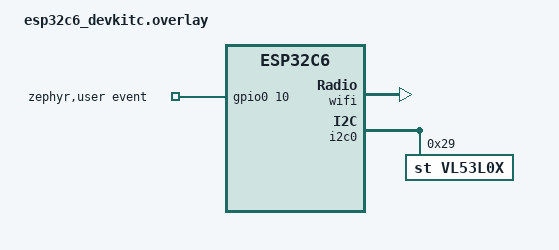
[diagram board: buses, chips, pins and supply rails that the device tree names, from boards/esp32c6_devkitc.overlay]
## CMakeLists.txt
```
# SPDX-License-Identifier: Apache-2.0
#
# direction example, application "sensor_a": a micro-ROS application on
# rmw_zenoh_pico. Everything it builds lies in this directory.

cmake_minimum_required(VERSION 3.20.0)

list(APPEND ZEPHYR_EXTRA_MODULES
  ${CMAKE_CURRENT_SOURCE_DIR}/modules/libmicroros
  ${CMAKE_CURRENT_SOURCE_DIR}/modules/wifi_bootstrap
  ${CMAKE_CURRENT_SOURCE_DIR}/modules/zenoh-pico
  ${CMAKE_CURRENT_SOURCE_DIR}/modules/rmw_zenoh_pico)

# Wi-Fi credentials: wifi.conf, a Kconfig fragment with the
# CONFIG_WIFI_BOOTSTRAP_* options. It is not in Git; wifi.conf.example is.
if(EXISTS ${CMAKE_CURRENT_SOURCE_DIR}/wifi.conf)
  list(APPEND EXTRA_CONF_FILE ${CMAKE_CURRENT_SOURCE_DIR}/wifi.conf)
else()
  message(WARNING "wifi.conf is missing: copy wifi.conf.example and fill it in")
endif()

# Where the arrivals come from: "tof", a VL53L0X distance sensor that is
# polled, or "gpio", a pulse on a pin. Each has its Kconfig fragment.
set(DIRECTION_EVENT_SOURCE "tof" CACHE STRING "Event source: tof or gpio")
set_property(CACHE DIRECTION_EVENT_SOURCE PROPERTY STRINGS tof gpio)
if(NOT DIRECTION_EVENT_SOURCE MATCHES "^(tof|gpio)$")
  message(FATAL_ERROR "DIRECTION_EVENT_SOURCE is \"${DIRECTION_EVENT_SOURCE}\"; it must be tof or gpio")
endif()
list(APPEND EXTRA_CONF_FILE ${CMAKE_CURRENT_SOURCE_DIR}/${DIRECTION_EVENT_SOURCE}.conf)

find_package(Zephyr REQUIRED HINTS $ENV{ZEPHYR_BASE})
project(zenoh_direction_sensor_a)

set(ZENOH_ROUTER_IP "192.168.50.164" CACHE STRING "Address of the Zenoh router")
set(ZENOH_ROUTER_PORT "8889" CACHE STRING "TCP port of the Zenoh router")
message(STATUS "Zenoh router: tcp/${ZENOH_ROUTER_IP}:${ZENOH_ROUTER_PORT}")
target_compile_definitions(app PRIVATE
  ZENOH_ROUTER_IP="${ZENOH_ROUTER_IP}"
  ZENOH_ROUTER_PORT="${ZENOH_ROUTER_PORT}")

target_sources(app PRIVATE src/main.c src/wifi_ps.c
  src/event_${DIRECTION_EVENT_SOURCE}.c)
message(STATUS "Event source: ${DIRECTION_EVENT_SOURCE}")
target_link_libraries(app PRIVATE rmw_zenoh_pico microros)
```

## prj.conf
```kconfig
CONFIG_MICROROS=y

CONFIG_MAIN_STACK_SIZE=8192
CONFIG_MAIN_THREAD_PRIORITY=3

CONFIG_NEWLIB_LIBC=y
CONFIG_NEWLIB_LIBC_NANO=n
CONFIG_POSIX_API=y
CONFIG_POSIX_CLOCK=y
CONFIG_STATIC_INIT_GNU=y
# rmw_zenoh_pico with one publisher uses 20 pthread mutexes (from the upstream example)
CONFIG_MAX_PTHREAD_MUTEX_COUNT=160

CONFIG_STDOUT_CONSOLE=y
CONFIG_LOG=y
CONFIG_SERIAL=y
CONFIG_UART_INTERRUPT_DRIVEN=y
CONFIG_UART_LINE_CTRL=y

# Entities of this application (compile-time limits of libmicroros)
CONFIG_MICROROS_NODES="1"
CONFIG_MICROROS_PUBLISHERS="1"
CONFIG_MICROROS_SUBSCRIBERS="2"
# Not used on Zenoh; the libmicroros module needs one transport selected
CONFIG_MICROROS_TRANSPORT_UDP=y

CONFIG_ZENOH_PICO=y
CONFIG_ZENOH_PICO_LINK_TCP=y
CONFIG_RMW_ZENOH_PICO=y
# Features that zenoh-pico leaves off by default and rmw_zenoh_pico needs
CONFIG_ZENOH_PICO_LIVELINESS=y
CONFIG_ZENOH_PICO_INTEREST=y
CONFIG_ZENOH_PICO_FRAGMENTATION=y
CONFIG_ZENOH_PICO_ENCODING_VALUES=y
CONFIG_ZENOH_PICO_UNICAST_TRANSPORT=y
CONFIG_ZENOH_PICO_MATCHING=y
CONFIG_ZENOH_PICO_AUTO_RECONNECT=y
CONFIG_ZENOH_PICO_SESSION_CHECK=y
CONFIG_ZENOH_PICO_BATCHING=y
# Send every message at once. Without it Zephyr's TCP holds a small segment
# back while earlier data is unacknowledged (Nagle's algorithm), so the second
# of two publishes waits for a round trip of the first's acknowledgement
# (lingua_franca_ws/dual_publisher/runs/2026-11-19-transit-time).
CONFIG_ZENOH_PICO_TCP_NODELAY=y
# Read and lease run in one thread; the default reserves 4 stacks of CONFIG_MAIN_STACK_SIZE
CONFIG_ZENOH_PICO_THREADS_NUM=1

# Wi-Fi credentials come from ulf-uros.conf in the repository root (not
# committed); CMakeLists adds them. Do not write them here.
CONFIG_WIFI=y
CONFIG_WIFI_BOOTSTRAP=y
CONFIG_NETWORKING=y
CONFIG_NET_L2_ETHERNET=y
CONFIG_NET_L2_WIFI_MGMT=y
CONFIG_NET_MGMT=y
CONFIG_NET_MGMT_EVENT=y
CONFIG_NET_MGMT_EVENT_INFO=y
CONFIG_NET_IPV4=y
CONFIG_NET_IPV6=n
CONFIG_NET_UDP=y
CONFIG_NET_TCP=y
CONFIG_NET_SOCKETS=y
CONFIG_NET_DHCPV4=y
CONFIG_ESP32_WIFI_STA_AUTO_DHCPV4=y
CONFIG_DNS_RESOLVER=y
CONFIG_NET_PKT_RX_COUNT=16
CONFIG_NET_PKT_TX_COUNT=32
CONFIG_NET_BUF_RX_COUNT=32
CONFIG_NET_BUF_TX_COUNT=128
CONFIG_NET_MAX_CONTEXTS=10
# zenoh-pico sets a receive timeout on its socket, which Zephyr rejects without this option
CONFIG_NET_CONTEXT_RCVTIMEO=y
CONFIG_HEAP_MEM_POOL_SIZE=98304
```

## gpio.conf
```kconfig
# Event source "gpio": a pin with an interrupt.
CONFIG_GPIO=y
# The sensor of the other source is in the devicetree but not used.
CONFIG_SENSOR=n
```

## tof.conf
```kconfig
# Event source "tof": the VL53L0X distance sensor on I2C.
CONFIG_I2C=y
CONFIG_SENSOR=y
CONFIG_VL53L0X=y
```

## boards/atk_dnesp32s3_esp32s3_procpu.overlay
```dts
/* 同 esp32c6_devkitc.overlay:wifi 外设默认 disabled,启用才会编入乐鑫 WiFi 驱动 */
&wifi {
	status = "okay";
};
```

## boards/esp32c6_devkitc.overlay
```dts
/* The wifi peripheral of the ESP32-C6 is disabled by default; enabling it
 * builds the Espressif Wi-Fi driver. */
&wifi {
	status = "okay";
};

/* Event source "tof": a VL53L0X on I2C0, which the board has on
 * GPIO6 (SDA) and GPIO7 (SCL). */
&i2c0 {
	vl53l0x: vl53l0x@29 {
		compatible = "st,vl53l0x";
		reg = <0x29>;
	};
};

/* Event source "gpio": a pulse to high on GPIO10 is one arrival. */
/ {
	zephyr,user {
		event-gpios = <&gpio0 10 (GPIO_ACTIVE_HIGH | GPIO_PULL_DOWN)>;
	};
};
```

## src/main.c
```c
/*
 * direction example, application "sensor_b".
 *
 * One of two sensors that an object passes one after the other. Each time the
 * object arrives at this sensor, the application publishes the number of the
 * arrival on /direction/b. The application "judge" takes the direction of the
 * movement from the order of the two sensors' messages.
 *
 * The arrivals come from an event source, which a thread of its own waits on
 * (event_source.h): a VL53L0X distance sensor that the thread polls, or a
 * pulse on a pin that raises an interrupt. The thread publishes as soon as
 * the source reports an arrival, so the publish is not in a callback of the
 * executor. The executor has one timer, which prints how many arrivals there
 * have been.
 *
 * Serial output:
 *   EVT,<record>,<time_us>,B,<count>,<detail>    before a publish
 *   #STAT,<time_us>,events=<count>                 once a second
 * <time_us> of EVT is the time of the arrival as the event source gives it;
 * <detail> is the distance in mm for the VL53L0X and 0 for the pin.
 */
#include <zephyr/kernel.h>
#include <zephyr/sys/printk.h>

#include <rcl/rcl.h>
#include <rcl/error_handling.h>
#include <rclc/rclc.h>
#include <rclc/executor.h>
#include <rmw_zenoh_pico/rmw_zenoh_pico_options.h>
#include <std_msgs/msg/int32.h>

#include <wifi_bootstrap.h>

#include "event_source.h"

#define SIDE           'B'
#define TOPIC          "/direction/b"
#define NODE           "direction_sensor_b"
#define STAT_PERIOD_MS 1000

#define RCCHECK(fn) { \
	rcl_ret_t rc_ = fn; \
	if (rc_ != RCL_RET_OK) { \
		printk("#ERR,line=%d,rc=%d,%s\n", __LINE__, (int)rc_, rcl_get_error_string().str); \
		for (;;) { k_sleep(K_FOREVER); } \
	} \
}

static rcl_publisher_t publisher;
static std_msgs__msg__Int32 msg;
static uint32_t record;
static atomic_t events;

K_THREAD_STACK_DEFINE(event_stack, 4096);
static struct k_thread event_thread;

static inline uint64_t now_us(void)
{
	return k_cyc_to_us_floor64(k_cycle_get_64());
}

/* Waits for arrivals and publishes each one. Runs for as long as the board does. */
static void event_main(void *p1, void *p2, void *p3)
{
	ARG_UNUSED(p1);
	ARG_UNUSED(p2);
	ARG_UNUSED(p3);

	for (;;) {
		struct event event;

		if (event_source_wait(&event) != 0) {
			printk("#ERR,event_source_wait\n");
			k_msleep(1000);
			continue;
		}
		msg.data = (int32_t)atomic_inc(&events);
		printk("EVT,%u,%llu,%c,%d,%d\n", record++, event.time_us, SIDE, (int)msg.data,
		       (int)event.detail);
		if (rcl_publish(&publisher, &msg, NULL) != RCL_RET_OK) {
			printk("#PUBFAIL,%c,%d\n", SIDE, (int)msg.data);
			rcl_reset_error();
		}
	}
}

static void stat_cb(rcl_timer_t *timer, int64_t last_call_time)
{
	ARG_UNUSED(timer);
	ARG_UNUSED(last_call_time);

	printk("#STAT,%llu,events=%d\n", now_us(), (int)atomic_get(&events));
}

int main(void)
{
	printk("\n#BOOT," NODE ",topic=" TOPIC ",source=%s\n", event_source_name());

	wifi_bootstrap_connect();

	rmw_zenoh_pico_set_mode("client");
	rmw_zenoh_pico_set_unicast(ZENOH_ROUTER_IP, ZENOH_ROUTER_PORT, NULL, NULL);
	printk("#ROUTER,tcp/%s:%s\n", ZENOH_ROUTER_IP, ZENOH_ROUTER_PORT);

	rcl_allocator_t allocator = rcl_get_default_allocator();
	rclc_support_t support;
	rcl_node_t node;
	rcl_timer_t timer;
	rclc_executor_t executor = rclc_executor_get_zero_initialized_executor();

	RCCHECK(rclc_support_init(&support, 0, NULL, &allocator));
	RCCHECK(rclc_node_init_default(&node, NODE, "", &support));
	RCCHECK(rclc_publisher_init_default(&publisher, &node,
		ROSIDL_GET_MSG_TYPE_SUPPORT(std_msgs, msg, Int32), TOPIC));
	RCCHECK(rclc_timer_init_default2(&timer, &support, RCL_MS_TO_NS(STAT_PERIOD_MS), stat_cb,
					 true));
	RCCHECK(rclc_executor_init(&executor, &support.context, 1, &allocator));
	RCCHECK(rclc_executor_add_timer(&executor, &timer));

	if (event_source_init() != 0) {
		printk("#ERR,event_source_init,source=%s\n", event_source_name());
		for (;;) { k_sleep(K_FOREVER); }
	}
	k_thread_create(&event_thread, event_stack, K_THREAD_STACK_SIZEOF(event_stack),
			event_main, NULL, NULL, NULL, K_PRIO_PREEMPT(2), 0, K_NO_WAIT);
	k_thread_name_set(&event_thread, "event");

	printk("#RUN\n");
	/* Returns only on an error other than a wait timeout */
	rcl_ret_t rc = rclc_executor_spin(&executor);

	printk("#ERR,spin,rc=%d\n", (int)rc);
	return 0;
}
```

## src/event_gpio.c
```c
/*
 * Arrivals from a pin: every edge to the active level is one arrival.
 *
 * The pin is event-gpios of the zephyr,user node in the board's overlay. Its
 * interrupt takes the time and hands it to the waiting thread, so the time of
 * an arrival is the time of the edge.
 */
#include <zephyr/device.h>
#include <zephyr/drivers/gpio.h>
#include <zephyr/kernel.h>

#include "event_source.h"

static const struct gpio_dt_spec pin = GPIO_DT_SPEC_GET(DT_PATH(zephyr_user), event_gpios);
static struct gpio_callback callback;

/* Times of edges that the thread has not taken yet. An edge that finds the
 * queue full is dropped. */
K_MSGQ_DEFINE(edges, sizeof(uint64_t), 8, 8);

static void on_edge(const struct device *port, struct gpio_callback *cb, uint32_t pins)
{
	uint64_t time_us = k_cyc_to_us_floor64(k_cycle_get_64());

	ARG_UNUSED(port);
	ARG_UNUSED(cb);
	ARG_UNUSED(pins);

	(void)k_msgq_put(&edges, &time_us, K_NO_WAIT);
}

const char *event_source_name(void)
{
	return "gpio";
}

int event_source_init(void)
{
	int rc;

	if (!gpio_is_ready_dt(&pin)) {
		return -ENODEV;
	}
	rc = gpio_pin_configure_dt(&pin, GPIO_INPUT);
	if (rc != 0) {
		return rc;
	}
	gpio_init_callback(&callback, on_edge, BIT(pin.pin));
	rc = gpio_add_callback(pin.port, &callback);
	if (rc != 0) {
		return rc;
	}
	return gpio_pin_interrupt_configure_dt(&pin, GPIO_INT_EDGE_TO_ACTIVE);
}

int event_source_wait(struct event *event)
{
	int rc = k_msgq_get(&edges, &event->time_us, K_FOREVER);

	event->detail = 0;
	return rc;
}
```

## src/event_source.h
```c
/*
 * Where the arrivals of an object at this sensor come from. One of
 * event_tof.c and event_gpio.c is built, as DIRECTION_EVENT_SOURCE says
 * (CMakeLists.txt).
 */
#ifndef EVENT_SOURCE_H
#define EVENT_SOURCE_H

#include <stdint.h>

/** An arrival of the object at this sensor. */
struct event {
	/** The board's time since boot at the arrival, in microseconds. */
	uint64_t time_us;
	/** What the source measured: a distance in mm, or 0. */
	int32_t detail;
};

/** @return Name of the source that is built in: "tof" or "gpio". */
const char *event_source_name(void);

/**
 * Makes the source ready. Call it once, before event_source_wait().
 * @return 0, or a negative errno value.
 */
int event_source_init(void);

/**
 * Blocks until the object arrives at the sensor again.
 * @param event Where the arrival is written.
 * @return 0, or a negative errno value.
 */
int event_source_wait(struct event *event);

#endif /* EVENT_SOURCE_H */
```

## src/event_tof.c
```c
/*
 * Arrivals from a VL53L0X time-of-flight distance sensor, polled.
 *
 * The object is at the sensor while the distance is below
 * DIRECTION_TOF_NEAR_MM. An arrival is the first such reading after
 * DIRECTION_TOF_CLEAR_READINGS readings in a row at or above the threshold, so
 * that one passing object is one arrival. A reading takes the sensor about
 * 33 ms; the time of an arrival is the time its reading came back, which is
 * up to one reading after the object got there.
 */
#include <zephyr/device.h>
#include <zephyr/drivers/sensor.h>
#include <zephyr/kernel.h>

#include "event_source.h"

#ifndef DIRECTION_TOF_NEAR_MM
#define DIRECTION_TOF_NEAR_MM 400
#endif
#ifndef DIRECTION_TOF_CLEAR_READINGS
#define DIRECTION_TOF_CLEAR_READINGS 3
#endif

static const struct device *const tof = DEVICE_DT_GET(DT_NODELABEL(vl53l0x));

/* Readings in a row without the object; an arrival needs enough of them first. */
static int clear_readings = DIRECTION_TOF_CLEAR_READINGS;

const char *event_source_name(void)
{
	return "tof";
}

int event_source_init(void)
{
	return device_is_ready(tof) ? 0 : -ENODEV;
}

int event_source_wait(struct event *event)
{
	for (;;) {
		struct sensor_value distance;
		int rc = sensor_sample_fetch(tof);

		if (rc == 0) {
			rc = sensor_channel_get(tof, SENSOR_CHAN_DISTANCE, &distance);
		}
		if (rc != 0) {
			return rc;
		}

		uint64_t time_us = k_cyc_to_us_floor64(k_cycle_get_64());
		/* The driver gives metres: val1 whole, val2 millionths. */
		int32_t mm = distance.val1 * 1000 + distance.val2 / 1000;

		if (mm >= DIRECTION_TOF_NEAR_MM) {
			if (clear_readings < DIRECTION_TOF_CLEAR_READINGS) {
				clear_readings++;
			}
			continue;
		}

		bool arrival = clear_readings >= DIRECTION_TOF_CLEAR_READINGS;

		clear_readings = 0;
		if (arrival) {
			event->time_us = time_us;
			event->detail = mm;
			return 0;
		}
	}
}
```

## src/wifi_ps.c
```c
/* Turns ESP WiFi power save off.
 *
 * The ESP default is WIFI_PS_MIN_MODEM: while a board sleeps, the AP buffers
 * frames to it, so board-to-board round trips sometimes exceed Zephyr's fixed
 * TCP retransmission timeout and every such message is resent once. Zephyr's
 * ESP32 driver does not expose power save, so the ESP API is called directly,
 * as soon as the station has started.
 */
#include <zephyr/kernel.h>
#include <zephyr/sys/printk.h>

#include <esp_wifi.h>

static void app_wifi_ps_off_main(void *p1, void *p2, void *p3)
{
	ARG_UNUSED(p1);
	ARG_UNUSED(p2);
	ARG_UNUSED(p3);

	while (esp_wifi_set_ps(WIFI_PS_NONE) != ESP_OK) {
		k_msleep(500);
	}
	printk("#wifi_ps_off\n");
}

K_THREAD_DEFINE(app_wifi_ps_off, 1024, app_wifi_ps_off_main, NULL, NULL, NULL,
		K_LOWEST_APPLICATION_THREAD_PRIO, 0, 0);
```
